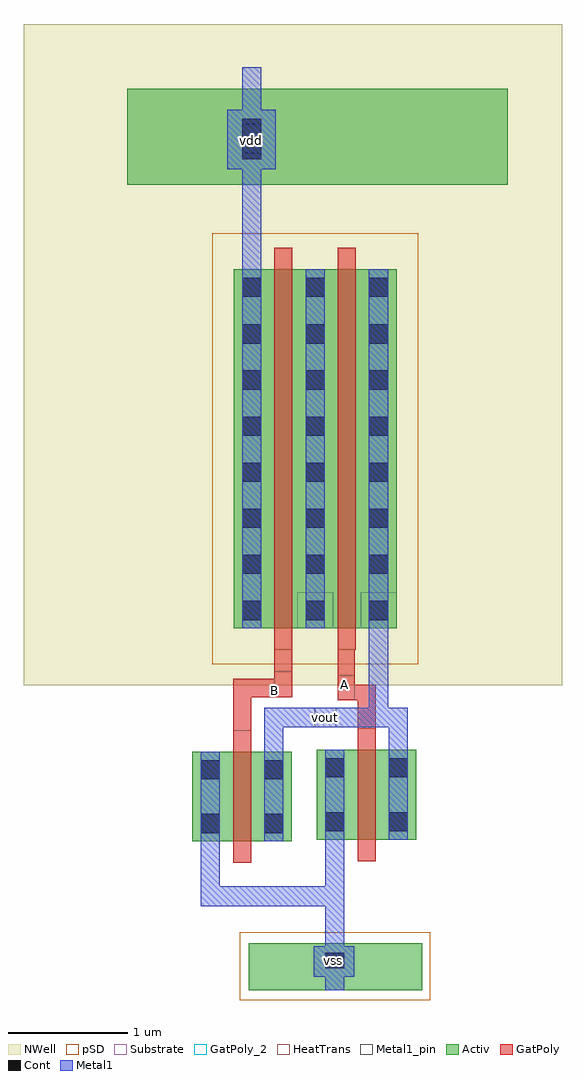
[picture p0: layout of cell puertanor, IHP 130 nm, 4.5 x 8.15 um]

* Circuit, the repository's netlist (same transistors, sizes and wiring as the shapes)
* Extracted by KLayout with SG13G2 LVS runset on : 08/04/2026 16:46

.SUBCKT puertanor
M$1 \$1 \$5 \$4 \$1 sg13_lv_nmos L=0.15u W=0.75u AS=0.255p AD=0.255p PS=2.18u
+ PD=2.18u
M$2 \$1 \$6 \$4 \$1 sg13_lv_nmos L=0.15u W=0.75u AS=0.255p AD=0.255p PS=2.18u
+ PD=2.18u
M$3 \$2 \$5 \$3 \$2 sg13_lv_pmos L=0.15u W=3u AS=1.02p AD=0.57p PS=6.68u
+ PD=3.38u
M$4 \$3 \$6 \$4 \$2 sg13_lv_pmos L=0.15u W=3u AS=0.57p AD=1.02p PS=3.38u
+ PD=6.68u
.ENDS puertanor

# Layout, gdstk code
import gdstk
lib = gdstk.Library(unit=1e-6, precision=5e-09)
def R(c, l, rs):  # rectangles x0, y0, x1, y1
    for r in rs: c.add(gdstk.rectangle(r[:2], r[2:], *l))
def A(c, l, x, y, w, h, nx, ny, dx, dy):  # array of equal rectangles
    R(c, l, [(x+i*dx, y+j*dy, x+i*dx+w, y+j*dy+h) for i in range(nx) for j in range(ny)])
Activ = (1, 0)
GatPoly = (5, 0)
GatPoly_2 = (5, 2)
Cont = (6, 0)
Metal1 = (8, 0)
Metal1_pin = (8, 2)
pSD = (14, 0)
NWell = (31, 0)
Substrate = (40, 0)
HeatTrans = (51, 0)

pmos_1 = lib.new_cell('pmos$1')
R(pmos_1, Activ, [(0,0,0.3,0.3), (0,0,0.83,3), (0.53,0,0.83,0.3)])
R(pmos_1, GatPoly, [(0.34,-0.18,0.49,3.18), (0.34,-0.18,0.49,3.18)])
A(pmos_1, Cont, 0.07, 0.07, 0.16, 0.16, 1, 7, 0, 0.385)
A(pmos_1, Cont, 0.6, 0.07, 0.16, 0.16, 1, 7, 0, 0.385)
R(pmos_1, Cont, [(0.07,2.77,0.23,2.93), (0.6,2.77,0.76,2.93)])
R(pmos_1, Metal1, [(0.07,0,0.23,3), (0.07,0,0.23,3), (0.6,0,0.76,3), (0.6,0,0.76,3)])
R(pmos_1, pSD, [(-0.18,-0.3,1.01,3.3)])
R(pmos_1, NWell, [(-0.31,-0.31,1.14,3.31)])
R(pmos_1, Substrate, [(0.53,0,0.83,0.3)])
R(pmos_1, HeatTrans, [(0.34,-0.18,0.49,3.18)])
pmos_1.add(gdstk.Label('pmos', (0.415,1.5), layer=63, texttype=0))
pmos_1.add(gdstk.Label('pmos', (0.415,1.5), layer=51, texttype=0))

nmos_1 = lib.new_cell('nmos$1')
R(nmos_1, Activ, [(0,0,0.3,0.3), (0,0,0.83,0.75), (0.53,0,0.83,0.3)])
R(nmos_1, GatPoly, [(0.34,-0.18,0.49,0.93)])
R(nmos_1, GatPoly_2, [(0.34,-0.18,0.49,0.93)])
R(nmos_1, Cont, [(0.07,0.07,0.23,0.23), (0.6,0.07,0.76,0.23), (0.07,0.52,0.23,0.68), (0.6,0.52,0.76,0.68)])
R(nmos_1, Metal1, [(0.07,0,0.23,0.75), (0.6,0,0.76,0.75)])
R(nmos_1, Metal1_pin, [(0.07,0,0.23,0.75), (0.6,0,0.76,0.75)])
R(nmos_1, HeatTrans, [(0.34,-0.18,0.49,0.93)])
nmos_1.add(gdstk.Label('nmos', (0.415,0.375), layer=63, texttype=0))
nmos_1.add(gdstk.Label('nmos', (0.415,0.375), layer=51, texttype=0))

puertanor = lib.new_cell('puertanor')
R(puertanor, Activ, [(8.035,3.76,9.485,4.155), (7.02,10.49,10.2,11.295)])
R(puertanor, GatPoly, [(7.905,5.935,8.055,6.365), (8.945,5.95,9.095,6.305), (8.78,6.185,9.095,6.315), (8.78,6.19,8.92,7.01), (7.905,6.21,8.4,6.365), (8.25,6.21,8.4,7.035)])
R(puertanor, GatPoly_2, [(8.78,6.19,8.92,6.395), (8.25,6.21,8.4,6.425)])
R(puertanor, Cont, [(8.675,3.945,8.835,4.075), (7.98,10.705,8.14,11.045)])
R(puertanor, Metal1, [(8.675,3.76,8.835,5.385), (8.58,3.875,8.915,4.13), (7.635,4.465,8.835,4.63), (7.635,4.465,7.795,5.125), (9.205,5.57,9.365,6.045), (8.165,5.755,8.325,6.045), (8.165,5.96,9.365,6.12), (9.04,5.96,9.2,6.87), (7.98,9.635,8.14,11.475), (7.855,10.62,8.26,11.12)])
R(puertanor, Metal1_pin, [(8.675,3.945,8.835,4.075), (8.585,5.96,8.765,6.12), (7.98,10.755,8.14,11)])
R(puertanor, pSD, [(7.96,3.68,9.55,4.245)])
R(puertanor, NWell, [(6.155,6.31,10.655,11.835)])
puertanor.add(gdstk.Reference(pmos_1, (7.91,6.785)))
puertanor.add(gdstk.Reference(nmos_1, (8.605,5.02)))
puertanor.add(gdstk.Reference(nmos_1, (7.565,5.005)))
puertanor.add(gdstk.Reference(pmos_1, (8.44,6.785)))
puertanor.add(gdstk.Label('vout', (8.675,6.04), layer=8, texttype=2))
puertanor.add(gdstk.Label('vss', (8.74,4.01), layer=8, texttype=2))
puertanor.add(gdstk.Label('vdd', (8.06,10.865), layer=8, texttype=2))
puertanor.add(gdstk.Label('B', (8.25,6.27), layer=5, texttype=2))
puertanor.add(gdstk.Label('B', (8.33,6.29), layer=5, texttype=2))
puertanor.add(gdstk.Label('A', (8.835,6.32), layer=5, texttype=2))

lib.write_gds('puertanor.gds')
